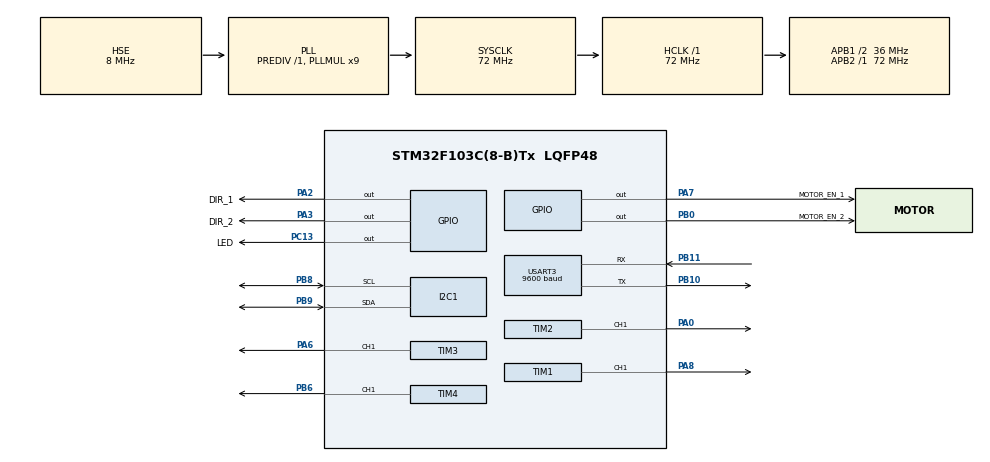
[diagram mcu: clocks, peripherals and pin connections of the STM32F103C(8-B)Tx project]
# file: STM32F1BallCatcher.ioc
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Dma.Request0=USART3_RX
Dma.USART3_RX.0.Direction=DMA_PERIPH_TO_MEMORY
Dma.USART3_RX.0.Instance=DMA1_Channel3
Dma.USART3_RX.0.MemDataAlignment=DMA_MDATAALIGN_BYTE
Dma.USART3_RX.0.MemInc=DMA_MINC_ENABLE
Dma.USART3_RX.0.Mode=DMA_NORMAL
Dma.USART3_RX.0.PeriphDataAlignment=DMA_PDATAALIGN_BYTE
Dma.USART3_RX.0.PeriphInc=DMA_PINC_DISABLE
Dma.USART3_RX.0.Priority=DMA_PRIORITY_LOW
Mcu.Family=STM32F1
Mcu.Name=STM32F103C(8-B)Tx
Mcu.Package=LQFP48
Mcu.UserConstants=MOTOR_MAX_PERIOD_COUNTS,0xEFFF;MOTOR_MIN_PERIOD_COUNTS_X,0x4300;SERVO_CLOSED,1800;SERVO_OPEN,3600;CONTROL_P_X,1;CONTROL_P_Y,1;MOTOR_MIN_PERIOD_COUNTS_Y,0x2300
NVIC.DMA1_Channel3_IRQn=true\:0\:0\:false\:false\:true\:false
NVIC.PriorityGroup=NVIC_PRIORITYGROUP_4
NVIC.TIM1_UP_IRQn=true\:3\:0\:true\:false\:false\:true
NVIC.TIM2_IRQn=true\:3\:0\:true\:false\:false\:true
NVIC.TIM3_IRQn=true\:3\:0\:true\:false\:false\:true
NVIC.TIM4_IRQn=true\:4\:0\:true\:false\:false\:true
PA0-WKUP.Signal=S_TIM2_CH1_ETR
PA13.Mode=Serial_Wire
PA13.Signal=SYS_JTMS-SWDIO
PA14.Mode=Serial_Wire
PA14.Signal=SYS_JTCK-SWCLK
PA2.GPIO_Label=DIR_1
PA2.Signal=GPIO_Output
PA3.GPIO_Label=DIR_2
PA3.Signal=GPIO_Output
PA6.Signal=S_TIM3_CH1
PA7.GPIO_Label=MOTOR_EN_1
PA7.Signal=GPIO_Output
PA8.Signal=S_TIM1_CH1
PB0.GPIO_Label=MOTOR_EN_2
PB0.Signal=GPIO_Output
PB10.Mode=Asynchronous
PB10.Signal=USART3_TX
PB11.Mode=Asynchronous
PB11.Signal=USART3_RX
PB6.Signal=S_TIM4_CH1
PB8.Mode=I2C
PB8.Signal=I2C1_SCL
PB9.Mode=I2C
PB9.Signal=I2C1_SDA
PC13-TAMPER-RTC.GPIO_Label=LED
PC13-TAMPER-RTC.Signal=GPIO_Output
PD0-OSC_IN.Mode=HSE-External-Oscillator
PD0-OSC_IN.Signal=RCC_OSC_IN
PD1-OSC_OUT.Mode=HSE-External-Oscillator
PD1-OSC_OUT.Signal=RCC_OSC_OUT
ProjectManager.HeapSize=0x200
ProjectManager.StackSize=0x400
ProjectManager.TargetToolchain=SW4STM32
RCC.AHBFreq_Value=72000000
RCC.APB1CLKDivider=RCC_HCLK_DIV2
RCC.APB1Freq_Value=36000000
RCC.APB1TimFreq_Value=72000000
RCC.APB2Freq_Value=72000000
RCC.APB2TimFreq_Value=72000000
RCC.HCLKFreq_Value=72000000
RCC.PLLMUL=RCC_PLL_MUL9
RCC.PLLSourceVirtual=RCC_PLLSOURCE_HSE
RCC.SYSCLKFreq_VALUE=72000000
RCC.SYSCLKSource=RCC_SYSCLKSOURCE_PLLCLK
RCC.USBFreq_Value=72000000
SH.S_TIM1_CH1.0=TIM1_CH1,PWM Generation1 CH1
SH.S_TIM2_CH1_ETR.0=TIM2_CH1,PWM Generation1 CH1
SH.S_TIM3_CH1.0=TIM3_CH1,PWM Generation1 CH1
SH.S_TIM4_CH1.0=TIM4_CH1,PWM Generation1 CH1
TIM1.Channel-PWM\ Generation1\ CH1=TIM_CHANNEL_1
TIM1.Period=MOTOR_MAX_PERIOD_COUNTS
TIM1.Pulse-PWM\ Generation1\ CH1=72
TIM2.Channel-PWM\ Generation1\ CH1=TIM_CHANNEL_1
TIM2.Period=3600
TIM2.Pulse-PWM\ Generation1\ CH1=72
TIM3.Channel-PWM\ Generation1\ CH1=TIM_CHANNEL_1
TIM3.Period=MOTOR_MAX_PERIOD_COUNTS
TIM3.Pulse-PWM\ Generation1\ CH1=72
TIM4.Channel-PWM\ Generation1\ CH1=TIM_CHANNEL_1
TIM4.ClockDivision=TIM_CLOCKDIVISION_DIV4
TIM4.Period=36000
TIM4.Prescaler=9
TIM4.Pulse-PWM\ Generation1\ CH1=SERVO_CLOSED
USART3.BaudRate=9600
USART3.Mode=MODE_RX
USART3.VirtualMode=VM_ASYNC
board=STM32F1BallCatcher

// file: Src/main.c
/**
  ******************************************************************************
  * @file           : main.c
  * @brief          : Main program body
  ******************************************************************************
  ** This notice applies to any and all portions of this file
  * that are not between comment pairs USER CODE BEGIN and
  * USER CODE END. Other portions of this file, whether
  * inserted by the user or by software development tools
  * are owned by their respective copyright owners.
  *
  * COPYRIGHT(c) 2018 STMicroelectronics
  *
  * Redistribution and use in source and binary forms, with or without modification,
  * are permitted provided that the following conditions are met:
  *   1. Redistributions of source code must retain the above copyright notice,
  *      this list of conditions and the following disclaimer.
  *   2. Redistributions in binary form must reproduce the above copyright notice,
  *      this list of conditions and the following disclaimer in the documentation
  *      and/or other materials provided with the distribution.
  *   3. Neither the name of STMicroelectronics nor the names of its contributors
  *      may be used to endorse or promote products derived from this software
  *      without specific prior written permission.
  *
  * THIS SOFTWARE IS PROVIDED BY THE COPYRIGHT HOLDERS AND CONTRIBUTORS "AS IS"
  * AND ANY EXPRESS OR IMPLIED WARRANTIES, INCLUDING, BUT NOT LIMITED TO, THE
  * IMPLIED WARRANTIES OF MERCHANTABILITY AND FITNESS FOR A PARTICULAR PURPOSE ARE
  * DISCLAIMED. IN NO EVENT SHALL THE COPYRIGHT HOLDER OR CONTRIBUTORS BE LIABLE
  * FOR ANY DIRECT, INDIRECT, INCIDENTAL, SPECIAL, EXEMPLARY, OR CONSEQUENTIAL
  * DAMAGES (INCLUDING, BUT NOT LIMITED TO, PROCUREMENT OF SUBSTITUTE GOODS OR
  * SERVICES; LOSS OF USE, DATA, OR PROFITS; OR BUSINESS INTERRUPTION) HOWEVER
  * CAUSED AND ON ANY THEORY OF LIABILITY, WHETHER IN CONTRACT, STRICT LIABILITY,
  * OR TORT (INCLUDING NEGLIGENCE OR OTHERWISE) ARISING IN ANY WAY OUT OF THE USE
  * OF THIS SOFTWARE, EVEN IF ADVISED OF THE POSSIBILITY OF SUCH DAMAGE.
  *
  ******************************************************************************
  */
#include "main.h"
#include "stm32f1xx_hal.h"

/* USER CODE BEGIN Includes */
#include "stm32f1xx_hal_tim.h"
#include "ballCatcher.h"
#include "stepperControl.h"
/* USER CODE END Includes */

I2C_HandleTypeDef hi2c1;

TIM_HandleTypeDef htim1;
TIM_HandleTypeDef htim2;
TIM_HandleTypeDef htim3;
TIM_HandleTypeDef htim4;

UART_HandleTypeDef huart3;
DMA_HandleTypeDef hdma_usart3_rx;

/* USER CODE BEGIN PV */
/* Private variables ---------------------------------------------------------*/
extern stepper motorEjeCentral;
extern stepper motorEjeBasal;
/* USER CODE END PV */

void SystemClock_Config(void);
static void MX_GPIO_Init(void);
static void MX_DMA_Init(void);
static void MX_TIM1_Init(void);
static void MX_TIM2_Init(void);
static void MX_TIM3_Init(void);
static void MX_TIM4_Init(void);
static void MX_USART3_UART_Init(void);
static void MX_I2C1_Init(void);

void HAL_TIM_MspPostInit(TIM_HandleTypeDef *htim);

/* USER CODE BEGIN PFP */
/* Private function prototypes -----------------------------------------------*/
#ifdef DEBUG
extern void initialise_monitor_handles(void);
#endif
/* USER CODE END PFP */

/* USER CODE BEGIN 0 */
void modprintf(const char* format, ...){
	#ifdef DEBUG
	va_list args;
	va_start(args, format);
	vprintf(format, args);
	va_end(args);
	#endif
}
/* USER CODE END 0 */

int main(void)
{

  /* MCU Configuration----------------------------------------------------------*/

  /* Reset of all peripherals, Initializes the Flash interface and the Systick. */
  HAL_Init();

  /* Configure the system clock */
  SystemClock_Config();

  /* Initialize all configured peripherals */
  MX_GPIO_Init();
  MX_DMA_Init();
  MX_TIM1_Init();
  MX_TIM2_Init();
  MX_TIM3_Init();
  MX_TIM4_Init();
  MX_USART3_UART_Init();
  MX_I2C1_Init();
  /* USER CODE BEGIN 2 */
#ifdef DEBUG
  initialise_monitor_handles();
#endif
  /*HAL_TIM_PWM_Start(&htim1, TIM_CHANNEL_1);
  HAL_TIM_PWM_Start(&htim2, TIM_CHANNEL_1);
  HAL_TIM_PWM_Start(&htim3, TIM_CHANNEL_1);
  HAL_TIM_PWM_Start(&htim4, TIM_CHANNEL_1);*/
  initBallCatcher(&htim1, &htim3, &htim2, &htim4, &hi2c1, &huart3, &hdma_usart3_rx);
  /* USER CODE END 2 */

  /* Infinite loop */
  while (1)
  {

  }

}

void SystemClock_Config(void)
{

  RCC_OscInitTypeDef RCC_OscInitStruct;
  RCC_ClkInitTypeDef RCC_ClkInitStruct;

    /**Initializes the CPU, AHB and APB busses clocks
    */
  RCC_OscInitStruct.OscillatorType = RCC_OSCILLATORTYPE_HSE;
  RCC_OscInitStruct.HSEState = RCC_HSE_ON;
  RCC_OscInitStruct.HSEPredivValue = RCC_HSE_PREDIV_DIV1;
  RCC_OscInitStruct.HSIState = RCC_HSI_ON;
  RCC_OscInitStruct.PLL.PLLState = RCC_PLL_ON;
  RCC_OscInitStruct.PLL.PLLSource = RCC_PLLSOURCE_HSE;
  RCC_OscInitStruct.PLL.PLLMUL = RCC_PLL_MUL9;
  if (HAL_RCC_OscConfig(&RCC_OscInitStruct) != HAL_OK)
  {
    _Error_Handler(__FILE__, __LINE__);
  }

    /**Initializes the CPU, AHB and APB busses clocks
    */
  RCC_ClkInitStruct.ClockType = RCC_CLOCKTYPE_HCLK|RCC_CLOCKTYPE_SYSCLK
                              |RCC_CLOCKTYPE_PCLK1|RCC_CLOCKTYPE_PCLK2;
  RCC_ClkInitStruct.SYSCLKSource = RCC_SYSCLKSOURCE_PLLCLK;
  RCC_ClkInitStruct.AHBCLKDivider = RCC_SYSCLK_DIV1;
  RCC_ClkInitStruct.APB1CLKDivider = RCC_HCLK_DIV2;
  RCC_ClkInitStruct.APB2CLKDivider = RCC_HCLK_DIV1;

  if (HAL_RCC_ClockConfig(&RCC_ClkInitStruct, FLASH_LATENCY_2) != HAL_OK)
  {
    _Error_Handler(__FILE__, __LINE__);
  }

    /**Configure the Systick interrupt time
    */
  HAL_SYSTICK_Config(HAL_RCC_GetHCLKFreq()/1000);

    /**Configure the Systick
    */
  HAL_SYSTICK_CLKSourceConfig(SYSTICK_CLKSOURCE_HCLK);

  /* SysTick_IRQn interrupt configuration */
  HAL_NVIC_SetPriority(SysTick_IRQn, 0, 0);
}

/* I2C1 init function */
static void MX_I2C1_Init(void)
{

  hi2c1.Instance = I2C1;
  hi2c1.Init.ClockSpeed = 100000;
  hi2c1.Init.DutyCycle = I2C_DUTYCYCLE_2;
  hi2c1.Init.OwnAddress1 = 0;
  hi2c1.Init.AddressingMode = I2C_ADDRESSINGMODE_7BIT;
  hi2c1.Init.DualAddressMode = I2C_DUALADDRESS_DISABLE;
  hi2c1.Init.OwnAddress2 = 0;
  hi2c1.Init.GeneralCallMode = I2C_GENERALCALL_DISABLE;
  hi2c1.Init.NoStretchMode = I2C_NOSTRETCH_DISABLE;
  if (HAL_I2C_Init(&hi2c1) != HAL_OK)
  {
    _Error_Handler(__FILE__, __LINE__);
  }

}

/* TIM1 init function */
static void MX_TIM1_Init(void)
{

  TIM_MasterConfigTypeDef sMasterConfig;
  TIM_OC_InitTypeDef sConfigOC;
  TIM_BreakDeadTimeConfigTypeDef sBreakDeadTimeConfig;

  htim1.Instance = TIM1;
  htim1.Init.Prescaler = 0;
  htim1.Init.CounterMode = TIM_COUNTERMODE_UP;
  htim1.Init.Period = MOTOR_MAX_PERIOD_COUNTS;
  htim1.Init.ClockDivision = TIM_CLOCKDIVISION_DIV1;
  htim1.Init.RepetitionCounter = 0;
  htim1.Init.AutoReloadPreload = TIM_AUTORELOAD_PRELOAD_DISABLE;
  if (HAL_TIM_PWM_Init(&htim1) != HAL_OK)
  {
    _Error_Handler(__FILE__, __LINE__);
  }

  sMasterConfig.MasterOutputTrigger = TIM_TRGO_RESET;
  sMasterConfig.MasterSlaveMode = TIM_MASTERSLAVEMODE_DISABLE;
  if (HAL_TIMEx_MasterConfigSynchronization(&htim1, &sMasterConfig) != HAL_OK)
  {
    _Error_Handler(__FILE__, __LINE__);
  }

  sConfigOC.OCMode = TIM_OCMODE_PWM1;
  sConfigOC.Pulse = 72;
  sConfigOC.OCPolarity = TIM_OCPOLARITY_HIGH;
  sConfigOC.OCNPolarity = TIM_OCNPOLARITY_HIGH;
  sConfigOC.OCFastMode = TIM_OCFAST_DISABLE;
  sConfigOC.OCIdleState = TIM_OCIDLESTATE_RESET;
  sConfigOC.OCNIdleState = TIM_OCNIDLESTATE_RESET;
  if (HAL_TIM_PWM_ConfigChannel(&htim1, &sConfigOC, TIM_CHANNEL_1) != HAL_OK)
  {
    _Error_Handler(__FILE__, __LINE__);
  }

  sBreakDeadTimeConfig.OffStateRunMode = TIM_OSSR_DISABLE;
  sBreakDeadTimeConfig.OffStateIDLEMode = TIM_OSSI_DISABLE;
  sBreakDeadTimeConfig.LockLevel = TIM_LOCKLEVEL_OFF;
  sBreakDeadTimeConfig.DeadTime = 0;
  sBreakDeadTimeConfig.BreakState = TIM_BREAK_DISABLE;
  sBreakDeadTimeConfig.BreakPolarity = TIM_BREAKPOLARITY_HIGH;
  sBreakDeadTimeConfig.AutomaticOutput = TIM_AUTOMATICOUTPUT_DISABLE;
  if (HAL_TIMEx_ConfigBreakDeadTime(&htim1, &sBreakDeadTimeConfig) != HAL_OK)
  {
    _Error_Handler(__FILE__, __LINE__);
  }

  HAL_TIM_MspPostInit(&htim1);

}

/* TIM2 init function */
static void MX_TIM2_Init(void)
{

  TIM_MasterConfigTypeDef sMasterConfig;
  TIM_OC_InitTypeDef sConfigOC;

  htim2.Instance = TIM2;
  htim2.Init.Prescaler = 0;
  htim2.Init.CounterMode = TIM_COUNTERMODE_UP;
  htim2.Init.Period = 3600;
  htim2.Init.ClockDivision = TIM_CLOCKDIVISION_DIV1;
  htim2.Init.AutoReloadPreload = TIM_AUTORELOAD_PRELOAD_DISABLE;
  if (HAL_TIM_PWM_Init(&htim2) != HAL_OK)
  {
    _Error_Handler(__FILE__, __LINE__);
  }

  sMasterConfig.MasterOutputTrigger = TIM_TRGO_RESET;
  sMasterConfig.MasterSlaveMode = TIM_MASTERSLAVEMODE_DISABLE;
  if (HAL_TIMEx_MasterConfigSynchronization(&htim2, &sMasterConfig) != HAL_OK)
  {
    _Error_Handler(__FILE__, __LINE__);
  }

  sConfigOC.OCMode = TIM_OCMODE_PWM1;
  sConfigOC.Pulse = 72;
  sConfigOC.OCPolarity = TIM_OCPOLARITY_HIGH;
  sConfigOC.OCFastMode = TIM_OCFAST_DISABLE;
  if (HAL_TIM_PWM_ConfigChannel(&htim2, &sConfigOC, TIM_CHANNEL_1) != HAL_OK)
  {
    _Error_Handler(__FILE__, __LINE__);
  }

  HAL_TIM_MspPostInit(&htim2);

}

/* TIM3 init function */
static void MX_TIM3_Init(void)
{

  TIM_MasterConfigTypeDef sMasterConfig;
  TIM_OC_InitTypeDef sConfigOC;

  htim3.Instance = TIM3;
  htim3.Init.Prescaler = 0;
  htim3.Init.CounterMode = TIM_COUNTERMODE_UP;
  htim3.Init.Period = MOTOR_MAX_PERIOD_COUNTS;
  htim3.Init.ClockDivision = TIM_CLOCKDIVISION_DIV1;
  htim3.Init.AutoReloadPreload = TIM_AUTORELOAD_PRELOAD_DISABLE;
  if (HAL_TIM_PWM_Init(&htim3) != HAL_OK)
  {
    _Error_Handler(__FILE__, __LINE__);
  }

  sMasterConfig.MasterOutputTrigger = TIM_TRGO_RESET;
  sMasterConfig.MasterSlaveMode = TIM_MASTERSLAVEMODE_DISABLE;
  if (HAL_TIMEx_MasterConfigSynchronization(&htim3, &sMasterConfig) != HAL_OK)
  {
    _Error_Handler(__FILE__, __LINE__);
  }

  sConfigOC.OCMode = TIM_OCMODE_PWM1;
  sConfigOC.Pulse = 72;
  sConfigOC.OCPolarity = TIM_OCPOLARITY_HIGH;
  sConfigOC.OCFastMode = TIM_OCFAST_DISABLE;
  if (HAL_TIM_PWM_ConfigChannel(&htim3, &sConfigOC, TIM_CHANNEL_1) != HAL_OK)
  {
    _Error_Handler(__FILE__, __LINE__);
  }

  HAL_TIM_MspPostInit(&htim3);

}

/* TIM4 init function */
static void MX_TIM4_Init(void)
{

  TIM_MasterConfigTypeDef sMasterConfig;
  TIM_OC_InitTypeDef sConfigOC;

  htim4.Instance = TIM4;
  htim4.Init.Prescaler = 9;
  htim4.Init.CounterMode = TIM_COUNTERMODE_UP;
  htim4.Init.Period = 36000;
  htim4.Init.ClockDivision = TIM_CLOCKDIVISION_DIV4;
  htim4.Init.AutoReloadPreload = TIM_AUTORELOAD_PRELOAD_DISABLE;
  if (HAL_TIM_PWM_Init(&htim4) != HAL_OK)
  {
    _Error_Handler(__FILE__, __LINE__);
  }

  sMasterConfig.MasterOutputTrigger = TIM_TRGO_RESET;
  sMasterConfig.MasterSlaveMode = TIM_MASTERSLAVEMODE_DISABLE;
  if (HAL_TIMEx_MasterConfigSynchronization(&htim4, &sMasterConfig) != HAL_OK)
  {
    _Error_Handler(__FILE__, __LINE__);
  }

  sConfigOC.OCMode = TIM_OCMODE_PWM1;
  sConfigOC.Pulse = SERVO_CLOSED;
  sConfigOC.OCPolarity = TIM_OCPOLARITY_HIGH;
  sConfigOC.OCFastMode = TIM_OCFAST_DISABLE;
  if (HAL_TIM_PWM_ConfigChannel(&htim4, &sConfigOC, TIM_CHANNEL_1) != HAL_OK)
  {
    _Error_Handler(__FILE__, __LINE__);
  }

  HAL_TIM_MspPostInit(&htim4);

}

/* USART3 init function */
static void MX_USART3_UART_Init(void)
{

  huart3.Instance = USART3;
  huart3.Init.BaudRate = 9600;
  huart3.Init.WordLength = UART_WORDLENGTH_8B;
  huart3.Init.StopBits = UART_STOPBITS_1;
  huart3.Init.Parity = UART_PARITY_NONE;
  huart3.Init.Mode = UART_MODE_RX;
  huart3.Init.HwFlowCtl = UART_HWCONTROL_NONE;
  huart3.Init.OverSampling = UART_OVERSAMPLING_16;
  if (HAL_UART_Init(&huart3) != HAL_OK)
  {
    _Error_Handler(__FILE__, __LINE__);
  }

}

static void MX_DMA_Init(void)
{
  /* DMA controller clock enable */
  __HAL_RCC_DMA1_CLK_ENABLE();

  /* DMA interrupt init */
  /* DMA1_Channel3_IRQn interrupt configuration */
  HAL_NVIC_SetPriority(DMA1_Channel3_IRQn, 0, 0);
  HAL_NVIC_EnableIRQ(DMA1_Channel3_IRQn);

}

/** Configure pins as
        * Analog
        * Input
        * Output
        * EVENT_OUT
        * EXTI
*/
static void MX_GPIO_Init(void)
{

  GPIO_InitTypeDef GPIO_InitStruct;

  /* GPIO Ports Clock Enable */
  __HAL_RCC_GPIOC_CLK_ENABLE();
  __HAL_RCC_GPIOD_CLK_ENABLE();
  __HAL_RCC_GPIOA_CLK_ENABLE();
  __HAL_RCC_GPIOB_CLK_ENABLE();

  /*Configure GPIO pin Output Level */
  HAL_GPIO_WritePin(LED_GPIO_Port, LED_Pin, GPIO_PIN_RESET);

  /*Configure GPIO pin Output Level */
  HAL_GPIO_WritePin(GPIOA, DIR_1_Pin|DIR_2_Pin|MOTOR_EN_1_Pin, GPIO_PIN_RESET);

  /*Configure GPIO pin Output Level */
  HAL_GPIO_WritePin(MOTOR_EN_2_GPIO_Port, MOTOR_EN_2_Pin, GPIO_PIN_RESET);

  /*Configure GPIO pin : LED_Pin */
  GPIO_InitStruct.Pin = LED_Pin;
  GPIO_InitStruct.Mode = GPIO_MODE_OUTPUT_PP;
  GPIO_InitStruct.Speed = GPIO_SPEED_FREQ_LOW;
  HAL_GPIO_Init(LED_GPIO_Port, &GPIO_InitStruct);

  /*Configure GPIO pins : DIR_1_Pin DIR_2_Pin MOTOR_EN_1_Pin */
  GPIO_InitStruct.Pin = DIR_1_Pin|DIR_2_Pin|MOTOR_EN_1_Pin;
  GPIO_InitStruct.Mode = GPIO_MODE_OUTPUT_PP;
  GPIO_InitStruct.Speed = GPIO_SPEED_FREQ_LOW;
  HAL_GPIO_Init(GPIOA, &GPIO_InitStruct);

  /*Configure GPIO pin : MOTOR_EN_2_Pin */
  GPIO_InitStruct.Pin = MOTOR_EN_2_Pin;
  GPIO_InitStruct.Mode = GPIO_MODE_OUTPUT_PP;
  GPIO_InitStruct.Speed = GPIO_SPEED_FREQ_LOW;
  HAL_GPIO_Init(MOTOR_EN_2_GPIO_Port, &GPIO_InitStruct);

}

/* USER CODE BEGIN 4 */
/*void TIM1_IRQHandler(void)
{
  if (__HAL_TIM_GET_FLAG(&htim1, TIM_FLAG_UPDATE))
  {
    if (__HAL_TIM_GET_ITSTATUS(&htim1, TIM_IT_UPDATE))
    {
      //HAL_GPIO_WritePin(GPIOB, GPIO_PIN_10, GPIO_PIN_SET);
      __HAL_TIM_CLEAR_FLAG(&htim1, TIM_FLAG_UPDATE);
      Stepper_PulseUpdate(&motorEjeBasal);
      //HAL_GPIO_WritePin(GPIOB, GPIO_PIN_10, GPIO_PIN_RESET);
    }
  }
}*/

void TIM1_UP_IRQHandler(void){
	if (__HAL_TIM_GET_FLAG(&htim1, TIM_FLAG_UPDATE)){
		if (__HAL_TIM_GET_IT_SOURCE(&htim1, TIM_IT_UPDATE)){
			//HAL_GPIO_WritePin(GPIOB, GPIO_PIN_10, GPIO_PIN_SET);
			__HAL_TIM_CLEAR_FLAG(&htim1, TIM_FLAG_UPDATE);
			Stepper_PulseUpdate(&motorEjeBasal);
			//HAL_GPIO_WritePin(GPIOB, GPIO_PIN_10, GPIO_PIN_RESET);
		}
	}
}

void TIM3_IRQHandler(void)
{
	if (__HAL_TIM_GET_FLAG(&htim3, TIM_FLAG_UPDATE))
	{
		if (__HAL_TIM_GET_IT_SOURCE(&htim3, TIM_IT_UPDATE))
		{
			//HAL_GPIO_WritePin(GPIOB, GPIO_PIN_10, GPIO_PIN_SET);
			__HAL_TIM_CLEAR_FLAG(&htim3, TIM_FLAG_UPDATE);
			#ifndef BASE_MOTOR_ONLY
			Stepper_PulseUpdate(&motorEjeCentral);
			#endif
			//HAL_GPIO_WritePin(GPIOB, GPIO_PIN_10, GPIO_PIN_RESET);
		}
	}
}

void TIM2_IRQHandler(void){
	if (__HAL_TIM_GET_FLAG(&htim2, TIM_FLAG_UPDATE)){
		if (__HAL_TIM_GET_IT_SOURCE(&htim2, TIM_IT_UPDATE)){
			//HAL_GPIO_TogglePin(GPIOA, LED_Pin);
			Stepper_Controller(&motorEjeBasal);
			#ifndef BASE_MOTOR_ONLY
			Stepper_Controller(&motorEjeCentral);
			#endif
			__HAL_TIM_CLEAR_FLAG(&htim2, TIM_FLAG_UPDATE);
			//Stepper_ExecuteAllControllers();
			//Serial_CheckRxTimeout();
		}
	}
}

void TIM4_IRQHandler(void){
	if (__HAL_TIM_GET_FLAG(&htim4, TIM_FLAG_UPDATE)){
		if (__HAL_TIM_GET_IT_SOURCE(&htim4, TIM_IT_UPDATE)){
			//HAL_GPIO_TogglePin(GPIOA, LED_Pin);
			BallCatcher_Controller(&motorEjeBasal, &motorEjeCentral);
			__HAL_TIM_CLEAR_FLAG(&htim4, TIM_FLAG_UPDATE);
			//Serial_CheckRxTim0eout();
		}
	}
}

/* USER CODE END 4 */

void _Error_Handler(char *file, int line)
{
  while(1)
  {
  }
}

/************************ (C) COPYRIGHT STMicroelectronics *****END OF FILE****/
